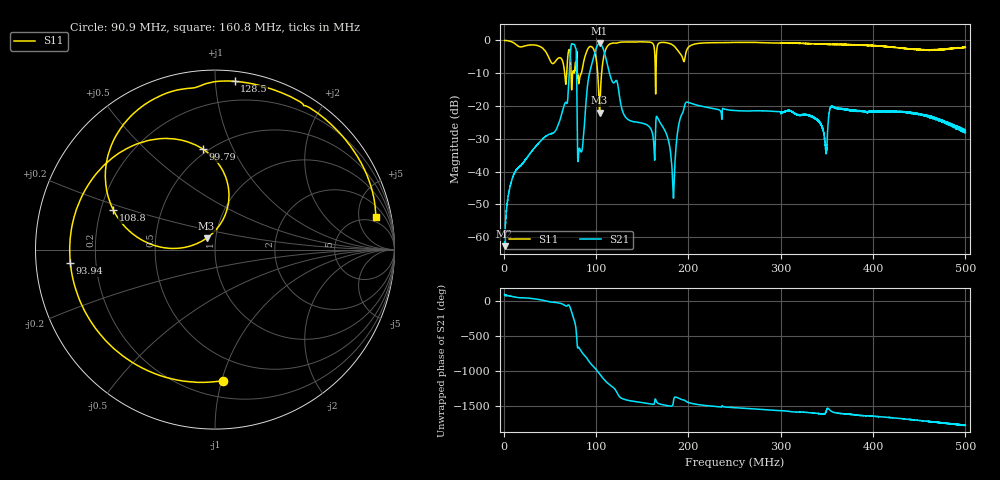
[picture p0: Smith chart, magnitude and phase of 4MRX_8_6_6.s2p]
! NanoVNA-App
! Date: 2026-08-19 14:52:03
! Start: 1MHz Stop: 500MHz Points: 6401
! S-Parameter data: F S11 S21 S12 S22
# Hz S RI R 50
!  Frequency  S11_Real  S11_Imag  S21_Real  S21_Imag  S12_Real  S12_Imag  S22_Real  S22_Imag
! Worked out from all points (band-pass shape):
!   6401 points, 1 MHz to 500 MHz, reference 50 ohm
!   highest |S21| = -0.90 dB at 103.8 MHz (marker M1); lowest = -62.7 dB at 1 MHz (marker M2)
!   |S21| within 3 dB of the highest: 72.22 MHz to 78.66 MHz (6.443 MHz wide, 8.54 % of centre); 98.56 MHz to 109.3 MHz (10.73 MHz wide, 10.3 % of centre)
!   lowest |S11| = -22.1 dB at 103.8 MHz (marker M3), VSWR 1.17, Z = 45.2 + j5.75 ohm
!   |S11| at or under -10 dB: 66.02 MHz to 68.22 MHz (2.191 MHz wide, 3.26 % of centre); 79.61 MHz to 84.09 MHz (4.479 MHz wide, 5.47 % of centre); 101.8 MHz to 106 MHz (4.25 MHz wide, 4.09 % of centre)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
!   S12 and S22 are empty: the file has one direction only
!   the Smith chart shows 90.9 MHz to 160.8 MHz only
!   S11 on the Smith chart (normalised r, x): 90.9 MHz: 0.32, -1.01; 93.94 MHz: 0.11, -0.05; 99.79 MHz: 0.47, +0.77; 108.8 MHz: 0.25, +0.18; 128.5 MHz: 0.07, +1.12; 160.8 MHz: 3.75, +8.33
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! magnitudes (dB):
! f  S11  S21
! 1 MHz  0.0  -62.7
! 11.84 MHz  -0.9  -40.3
! 59.55 MHz  -5.3  -25.4
! 74.84 MHz  -9.7  -1.2
! 81.78 MHz  -12.5  -32.9
! 84.19 MHz  -9.9  -34.0
! 90.9 MHz  -2.7  -13.5
! 93.94 MHz  -1.8  -8.8
! 99.79 MHz  -5.0  -2.7
! 103.8 MHz  -22.0  -0.9
! 103.8 MHz  -22.1  -0.9
! 108.8 MHz  -4.3  -3.5
! 128.5 MHz  -0.5  -21.3
! 160.8 MHz  -0.8  -28.0
! 167.4 MHz  -1.0  -24.0
! 183.5 MHz  -1.5  -46.9
! 198 MHz  -3.1  -18.8
! 250.5 MHz  -0.6  -21.4
! 333.7 MHz  -1.0  -23.1
! 348.4 MHz  -1.2  -32.7
! 416.9 MHz  -2.0  -21.7
! 500 MHz  -2.1  -28.1
